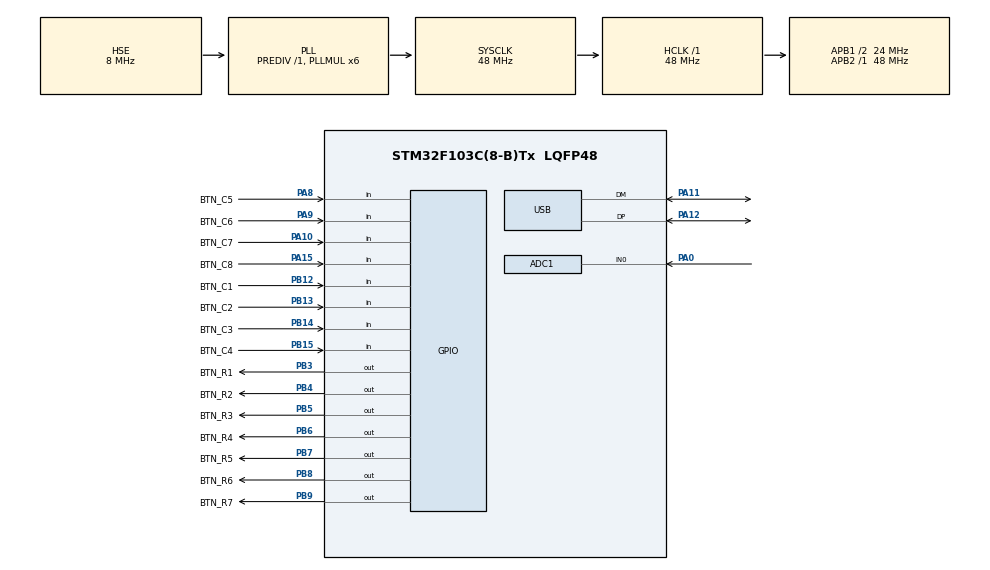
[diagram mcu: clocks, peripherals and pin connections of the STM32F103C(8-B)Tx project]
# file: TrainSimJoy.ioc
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ADC1.Channel-1\#ChannelRegularConversion=ADC_CHANNEL_0
ADC1.NbrOfConversionFlag=1
ADC1.Rank-1\#ChannelRegularConversion=1
ADC1.SamplingTime-1\#ChannelRegularConversion=ADC_SAMPLETIME_239CYCLES_5
ADC1.master=1
Mcu.Family=STM32F1
Mcu.Name=STM32F103C(8-B)Tx
Mcu.Package=LQFP48
NVIC.PriorityGroup=NVIC_PRIORITYGROUP_4
NVIC.USB_LP_CAN1_RX0_IRQn=true\:0\:0\:false\:false\:true\:false\:true\:true
PA0-WKUP.Signal=ADCx_IN0
PA10.GPIO_Label=BTN_C7
PA10.GPIO_PuPd=GPIO_PULLUP
PA10.Signal=GPIO_Input
PA11.Mode=Device
PA11.Signal=USB_DM
PA12.Mode=Device
PA12.Signal=USB_DP
PA13.Mode=Serial_Wire
PA13.Signal=SYS_JTMS-SWDIO
PA14.Mode=Serial_Wire
PA14.Signal=SYS_JTCK-SWCLK
PA15.GPIO_Label=BTN_C8
PA15.GPIO_PuPd=GPIO_PULLUP
PA15.Signal=GPIO_Input
PA8.GPIO_Label=BTN_C5
PA8.GPIO_PuPd=GPIO_PULLUP
PA8.Signal=GPIO_Input
PA9.GPIO_Label=BTN_C6
PA9.GPIO_PuPd=GPIO_PULLUP
PA9.Signal=GPIO_Input
PB12.GPIO_Label=BTN_C1
PB12.GPIO_PuPd=GPIO_PULLUP
PB12.Signal=GPIO_Input
PB13.GPIO_Label=BTN_C2
PB13.GPIO_PuPd=GPIO_PULLUP
PB13.Signal=GPIO_Input
PB14.GPIO_Label=BTN_C3
PB14.GPIO_PuPd=GPIO_PULLUP
PB14.Signal=GPIO_Input
PB15.GPIO_Label=BTN_C4
PB15.GPIO_PuPd=GPIO_PULLUP
PB15.Signal=GPIO_Input
PB3.GPIO_Label=BTN_R1
PB3.Signal=GPIO_Output
PB4.GPIO_Label=BTN_R2
PB4.Signal=GPIO_Output
PB5.GPIO_Label=BTN_R3
PB5.Signal=GPIO_Output
PB6.GPIO_Label=BTN_R4
PB6.Signal=GPIO_Output
PB7.GPIO_Label=BTN_R5
PB7.Signal=GPIO_Output
PB8.GPIO_Label=BTN_R6
PB8.Signal=GPIO_Output
PB9.GPIO_Label=BTN_R7
PB9.Signal=GPIO_Output
PC14-OSC32_IN.Mode=LSE-External-Oscillator
PC14-OSC32_IN.Signal=RCC_OSC32_IN
PC15-OSC32_OUT.Mode=LSE-External-Oscillator
PC15-OSC32_OUT.Signal=RCC_OSC32_OUT
PD0-OSC_IN.Mode=HSE-External-Oscillator
PD0-OSC_IN.Signal=RCC_OSC_IN
PD1-OSC_OUT.Mode=HSE-External-Oscillator
PD1-OSC_OUT.Signal=RCC_OSC_OUT
ProjectManager.HeapSize=0x200
ProjectManager.StackSize=0x400
ProjectManager.TargetToolchain=CMake
RCC.ADCPresc=RCC_ADCPCLK2_DIV8
RCC.AHBFreq_Value=48000000
RCC.APB1CLKDivider=RCC_HCLK_DIV2
RCC.APB1Freq_Value=24000000
RCC.APB1TimFreq_Value=48000000
RCC.APB2Freq_Value=48000000
RCC.APB2TimFreq_Value=48000000
RCC.HCLKFreq_Value=48000000
RCC.PLLMUL=RCC_PLL_MUL6
RCC.PLLSourceVirtual=RCC_PLLSOURCE_HSE
RCC.SYSCLKFreq_VALUE=48000000
RCC.SYSCLKSource=RCC_SYSCLKSOURCE_PLLCLK
RCC.USBFreq_Value=48000000
SH.ADCx_IN0.0=ADC1_IN0,IN0
USB_DEVICE.CLASS_NAME_FS=CUSTOM_HID
USB_DEVICE.USBD_CUSTOMHID_OUTREPORT_BUF_SIZE=8
USB_DEVICE.USBD_CUSTOM_HID_REPORT_DESC_SIZE=25
USB_DEVICE.VirtualMode=CustomHid
USB_DEVICE.VirtualModeFS=Custom_Hid_FS
VP_USB_DEVICE_VS_USB_DEVICE_CUSTOM_HID_FS.Mode=CUSTOM_HID_FS
board=custom

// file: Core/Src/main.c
/* USER CODE BEGIN Header */
/**
 ******************************************************************************
 * @file           : main.c
 * @brief          : Main program body
 ******************************************************************************
 * @attention
 *
 * Copyright (c) 2026 STMicroelectronics.
 * All rights reserved.
 *
 * This software is licensed under terms that can be found in the LICENSE file
 * in the root directory of this software component.
 * If no LICENSE file comes with this software, it is provided AS-IS.
 *
 ******************************************************************************
 */
/* USER CODE END Header */
#include "main.h"
#include "usb_device.h"

/* USER CODE BEGIN Includes */
#include "button.h"
#include "usbd_custom_hid_if.h"

/* USER CODE END Includes */

/* USER CODE BEGIN PD */
#define MASTER_CTRL_RPT_ROW 6

#define FORWARD_1_SWITCH_MASK 0x80 // button 48
#define POS_2_SWITCH_MASK 0x04     // button 43
#define FORWARD_3_SWITCH_MASK 0x08 // button 44
#define BREAK_1_SWITCH_MASK 0x10   // button 45
#define BREAK_3_SWITCH_MASK 0x20   // button 46

/* USER CODE END PD */

ADC_HandleTypeDef hadc1;

/* USER CODE BEGIN PV */
extern USBD_HandleTypeDef hUsbDeviceFS;

/* Report layout: [report_id][7 button bytes][16-bit X axis, little-endian] */
static uint8_t s_report[10] = {1, 0, 0, 0, 0, 0, 0, 0, 0, 0};
/* USER CODE END PV */

void SystemClock_Config(void);
static void MX_GPIO_Init(void);
static void MX_ADC1_Init(void);

int main(void)
{

  /* MCU Configuration--------------------------------------------------------*/

  /* Reset of all peripherals, Initializes the Flash interface and the Systick. */
  HAL_Init();

  /* Configure the system clock */
  SystemClock_Config();

  /* Initialize all configured peripherals */
  MX_GPIO_Init();
  MX_USB_DEVICE_Init();
  MX_ADC1_Init();

  /* Infinite loop */
  /* USER CODE BEGIN WHILE */
  while (1) {
    uint8_t *button_state = ButtonMatrix_Scan();
    for (int i = 0; i < MATRIX_ROWS; i++) {
      s_report[i + 1] = button_state[i];
    }

    if (HAL_ADC_Start(&hadc1) != HAL_OK) {
      Error_Handler();
    }
    if (HAL_ADC_PollForConversion(&hadc1, 10) != HAL_OK) {
      Error_Handler();
    }
    uint16_t axis_value = (uint16_t)HAL_ADC_GetValue(&hadc1);
    if (HAL_ADC_Stop(&hadc1) != HAL_OK) {
      Error_Handler();
    }
    s_report[8] = (uint8_t)(axis_value & 0xFF);
    s_report[9] = (uint8_t)(axis_value >> 8);

    // Change master control report mappings
    // if position 2 switch is pressed, check for forward 1 and break 1 switches
    if (s_report[MASTER_CTRL_RPT_ROW] & POS_2_SWITCH_MASK) {

      // Forward branch if forward 1 switch is pressed
      if (s_report[MASTER_CTRL_RPT_ROW] & FORWARD_1_SWITCH_MASK) {
        if (s_report[MASTER_CTRL_RPT_ROW] & FORWARD_3_SWITCH_MASK) {
          // Forward 3 position: reset forward 1 and position 2 switches in HID report
          s_report[MASTER_CTRL_RPT_ROW] &= ~POS_2_SWITCH_MASK;
          s_report[MASTER_CTRL_RPT_ROW] &= ~FORWARD_1_SWITCH_MASK;
        } else {
          // Forward 2 position: reset forward 1 switch
          s_report[MASTER_CTRL_RPT_ROW] &= ~FORWARD_1_SWITCH_MASK;
        }
      }

      // Break branch if break 1 switch is pressed
      if (s_report[MASTER_CTRL_RPT_ROW] & BREAK_1_SWITCH_MASK) {
        if (s_report[MASTER_CTRL_RPT_ROW] & BREAK_3_SWITCH_MASK) {
          // Break 3 position: reset break 1 and position 2 switches in HID report
          s_report[MASTER_CTRL_RPT_ROW] &= ~POS_2_SWITCH_MASK;
          s_report[MASTER_CTRL_RPT_ROW] &= ~BREAK_1_SWITCH_MASK;
        } else {
          // Break 2 position:
          s_report[MASTER_CTRL_RPT_ROW] &= ~BREAK_1_SWITCH_MASK;
          // TODO: Add logic to set unused button
        }
      }
    }

    USBD_CUSTOM_HID_SendReport(&hUsbDeviceFS, s_report, sizeof(s_report));

    HAL_Delay(10); /* 10ms delay, adjust as needed for your application */

    /* USER CODE END WHILE */

  }
}

void SystemClock_Config(void)
{
  RCC_OscInitTypeDef RCC_OscInitStruct = {0};
  RCC_ClkInitTypeDef RCC_ClkInitStruct = {0};
  RCC_PeriphCLKInitTypeDef PeriphClkInit = {0};

  /** Initializes the RCC Oscillators according to the specified parameters
  * in the RCC_OscInitTypeDef structure.
  */
  RCC_OscInitStruct.OscillatorType = RCC_OSCILLATORTYPE_HSE;
  RCC_OscInitStruct.HSEState = RCC_HSE_ON;
  RCC_OscInitStruct.HSEPredivValue = RCC_HSE_PREDIV_DIV1;
  RCC_OscInitStruct.HSIState = RCC_HSI_ON;
  RCC_OscInitStruct.PLL.PLLState = RCC_PLL_ON;
  RCC_OscInitStruct.PLL.PLLSource = RCC_PLLSOURCE_HSE;
  RCC_OscInitStruct.PLL.PLLMUL = RCC_PLL_MUL6;
  if (HAL_RCC_OscConfig(&RCC_OscInitStruct) != HAL_OK)
  {
    Error_Handler();
  }

  /** Initializes the CPU, AHB and APB buses clocks
  */
  RCC_ClkInitStruct.ClockType = RCC_CLOCKTYPE_HCLK|RCC_CLOCKTYPE_SYSCLK
                              |RCC_CLOCKTYPE_PCLK1|RCC_CLOCKTYPE_PCLK2;
  RCC_ClkInitStruct.SYSCLKSource = RCC_SYSCLKSOURCE_PLLCLK;
  RCC_ClkInitStruct.AHBCLKDivider = RCC_SYSCLK_DIV1;
  RCC_ClkInitStruct.APB1CLKDivider = RCC_HCLK_DIV2;
  RCC_ClkInitStruct.APB2CLKDivider = RCC_HCLK_DIV1;

  if (HAL_RCC_ClockConfig(&RCC_ClkInitStruct, FLASH_LATENCY_1) != HAL_OK)
  {
    Error_Handler();
  }
  PeriphClkInit.PeriphClockSelection = RCC_PERIPHCLK_ADC|RCC_PERIPHCLK_USB;
  PeriphClkInit.AdcClockSelection = RCC_ADCPCLK2_DIV8;
  PeriphClkInit.UsbClockSelection = RCC_USBCLKSOURCE_PLL;
  if (HAL_RCCEx_PeriphCLKConfig(&PeriphClkInit) != HAL_OK)
  {
    Error_Handler();
  }
}

static void MX_ADC1_Init(void)
{

  ADC_ChannelConfTypeDef sConfig = {0};

  /** Common config
  */
  hadc1.Instance = ADC1;
  hadc1.Init.ScanConvMode = ADC_SCAN_DISABLE;
  hadc1.Init.ContinuousConvMode = DISABLE;
  hadc1.Init.DiscontinuousConvMode = DISABLE;
  hadc1.Init.ExternalTrigConv = ADC_SOFTWARE_START;
  hadc1.Init.DataAlign = ADC_DATAALIGN_RIGHT;
  hadc1.Init.NbrOfConversion = 1;
  if (HAL_ADC_Init(&hadc1) != HAL_OK)
  {
    Error_Handler();
  }

  /** Configure Regular Channel
  */
  sConfig.Channel = ADC_CHANNEL_0;
  sConfig.Rank = ADC_REGULAR_RANK_1;
  sConfig.SamplingTime = ADC_SAMPLETIME_239CYCLES_5;
  if (HAL_ADC_ConfigChannel(&hadc1, &sConfig) != HAL_OK)
  {
    Error_Handler();
  }

}

static void MX_GPIO_Init(void)
{
  GPIO_InitTypeDef GPIO_InitStruct = {0};

  /* GPIO Ports Clock Enable */
  __HAL_RCC_GPIOC_CLK_ENABLE();
  __HAL_RCC_GPIOD_CLK_ENABLE();
  __HAL_RCC_GPIOA_CLK_ENABLE();
  __HAL_RCC_GPIOB_CLK_ENABLE();

  /*Configure GPIO pin Output Level */
  HAL_GPIO_WritePin(GPIOB, BTN_R1_Pin|BTN_R2_Pin|BTN_R3_Pin|BTN_R4_Pin
                          |BTN_R5_Pin|BTN_R6_Pin|BTN_R7_Pin, GPIO_PIN_RESET);

  /*Configure GPIO pins : BTN_C1_Pin BTN_C2_Pin BTN_C3_Pin BTN_C4_Pin */
  GPIO_InitStruct.Pin = BTN_C1_Pin|BTN_C2_Pin|BTN_C3_Pin|BTN_C4_Pin;
  GPIO_InitStruct.Mode = GPIO_MODE_INPUT;
  GPIO_InitStruct.Pull = GPIO_PULLUP;
  HAL_GPIO_Init(GPIOB, &GPIO_InitStruct);

  /*Configure GPIO pins : BTN_C5_Pin BTN_C6_Pin BTN_C7_Pin BTN_C8_Pin */
  GPIO_InitStruct.Pin = BTN_C5_Pin|BTN_C6_Pin|BTN_C7_Pin|BTN_C8_Pin;
  GPIO_InitStruct.Mode = GPIO_MODE_INPUT;
  GPIO_InitStruct.Pull = GPIO_PULLUP;
  HAL_GPIO_Init(GPIOA, &GPIO_InitStruct);

  /*Configure GPIO pins : BTN_R1_Pin BTN_R2_Pin BTN_R3_Pin BTN_R4_Pin
                           BTN_R5_Pin BTN_R6_Pin BTN_R7_Pin */
  GPIO_InitStruct.Pin = BTN_R1_Pin|BTN_R2_Pin|BTN_R3_Pin|BTN_R4_Pin
                          |BTN_R5_Pin|BTN_R6_Pin|BTN_R7_Pin;
  GPIO_InitStruct.Mode = GPIO_MODE_OUTPUT_PP;
  GPIO_InitStruct.Pull = GPIO_NOPULL;
  GPIO_InitStruct.Speed = GPIO_SPEED_FREQ_LOW;
  HAL_GPIO_Init(GPIOB, &GPIO_InitStruct);

}

void Error_Handler(void)
{
  __disable_irq();
  while (1) {
  }
}
#ifdef USE_FULL_ASSERT
/**
  * @brief  Reports the name of the source file and the source line number
  *         where the assert_param error has occurred.
  * @param  file: pointer to the source file name
  * @param  line: assert_param error line source number
  * @retval None
  */
void assert_failed(uint8_t *file, uint32_t line)
{
  /* USER CODE BEGIN 6 */
  /* User can add his own implementation to report the file name and line
     number, ex: printf("Wrong parameters value: file %s on line %d\r\n", file,
     line) */
  /* USER CODE END 6 */
}
#endif /* USE_FULL_ASSERT */
